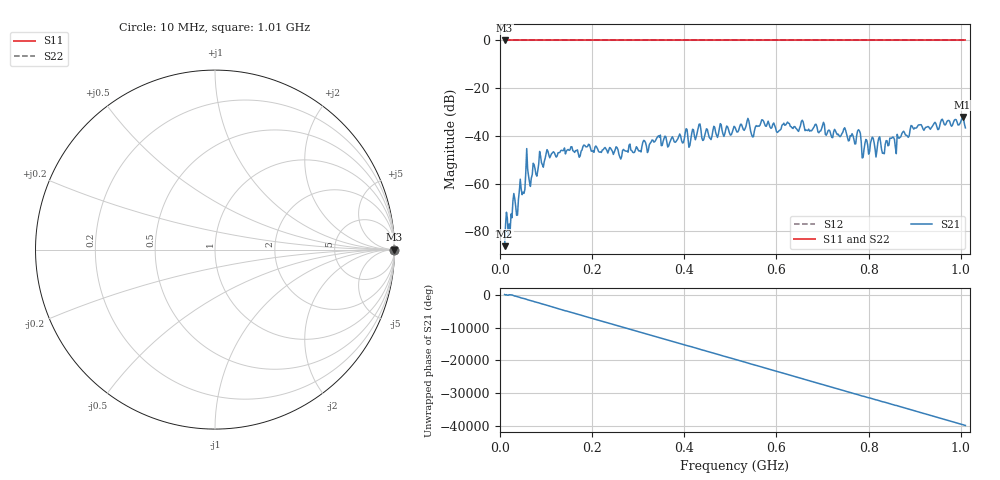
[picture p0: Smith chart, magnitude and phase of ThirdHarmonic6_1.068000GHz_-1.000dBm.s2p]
! 8/16/2025 9:39:31 AM
! C:\ANRITSUVNA\TEMP\TEMP.S2P
! CHANNEL.1
! TR.MEASUREMENT
! RAW.DATA
! RF.CORRECTION.OFF
! AVERAGING.OFF
! IF.BANDWIDTH: 5KHZ
! SWEEPTYPE:  FREQ.SWEEP(Linear)
! Reference Plane Port Info
! PORT:  PORT1  PORT2
! DISTANCE:  0  m  0  m
! TIME:  0  s  0  s
! PHASE.OFFSET:  0  deg.  0  deg.
! LOSS:  0  dB  0  dB
! REF.LOSS:  0  dB  0  dB
! REF.FREQ:  0  Hz  0  Hz
! Power Info
! POWER:  -20  dBm  -20  dBm
! EFF.POWER:  -20  dBm  -20  dBm
! SOURCE.ATTEN:  0  dB  0  dB
! TEST.ATTEN:  0  dB  0  dB
# GHZ S RI R 50.0
! FREQ.GHZ  S11RE  S11IM  S21RE  S21IM  S12RE  S12IM  S22RE  S22IM
!; PortSelection: Port_12
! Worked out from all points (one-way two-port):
!   501 points, 10 MHz to 1.01 GHz, reference 50 ohm
!   highest |S21| = -32.12 dB at 1.004 GHz (marker M1); lowest = -86.3 dB at 10 MHz (marker M2)
!   lowest |S11| = 0.0 dB at 10 MHz (marker M3)
!   |S11| at or under -10 dB: nowhere
!   |S22| runs from 0.0 to 0.0 dB; largest |S21 - S12| = 1
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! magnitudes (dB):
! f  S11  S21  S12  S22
! 10 MHz  0.0  -86.3  0.0  0.0
! 22 MHz  0.0  -79.9  0.0  0.0
! 28 MHz  0.0  -67.4  0.0  0.0
! 38 MHz  0.0  -73.2  0.0  0.0
! 60 MHz  0.0  -53.9  0.0  0.0
! 66 MHz  0.0  -61.2  0.0  0.0
! 102 MHz  0.0  -45.8  0.0  0.0
! 178 MHz  0.0  -45.9  0.0  0.0
! 262 MHz  0.0  -49.7  0.0  0.0
! 344 MHz  0.0  -40.0  0.0  0.0
! 366 MHz  0.0  -44.3  0.0  0.0
! 404 MHz  0.0  -37.0  0.0  0.0
! 412 MHz  0.0  -44.1  0.0  0.0
! 432 MHz  0.0  -35.2  0.0  0.0
! 442 MHz  0.0  -41.6  0.0  0.0
! 510 MHz  0.0  -36.4  0.0  0.0
! 678 MHz  0.0  -37.4  0.0  0.0
! 778 MHz  0.0  -37.4  0.0  0.0
! 788 MHz  0.0  -49.1  0.0  0.0
! 844 MHz  0.0  -43.9  0.0  0.0
! 1.004 GHz  0.0  -32.1  0.0  0.0
! 1.01 GHz  0.0  -36.7  0.0  0.0
